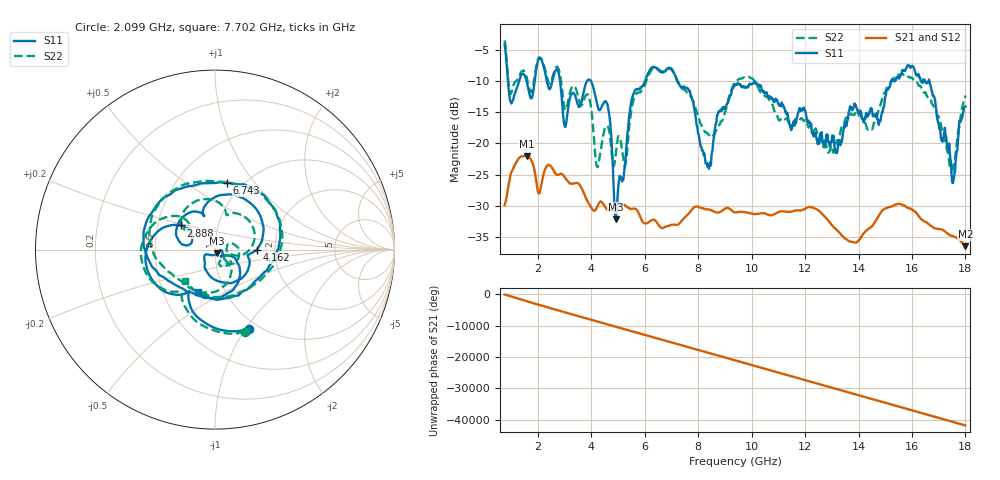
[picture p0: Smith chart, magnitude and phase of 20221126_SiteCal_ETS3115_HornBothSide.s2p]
!Keysight Technologies,N5224A,MY51441075,A.10.49.11
!Date: Saturday, November 26, 2022 12:56:04
!Correction: S11(Full 2 Port(1,2))
!S21(Full 2 Port(1,2))
!S12(Full 2 Port(1,2))
!S22(Full 2 Port(1,2))
!S2P File: Measurements: S11, S21, S12, S22:
# Hz S  dB  R 50
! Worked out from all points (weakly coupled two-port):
!   17251 points, 750 MHz to 18 GHz, reference 50 ohm
!   highest |S21| = -22.00 dB at 1.585 GHz (marker M1); lowest = -36.5 dB at 18 GHz (marker M2)
!   lowest |S11| = -32.2 dB at 4.905 GHz (marker M3), VSWR 1.05, Z = 51.1 - j2.22 ohm
!   |S11| at or under -10 dB: 3.985 GHz to 6.007 GHz (2.023 GHz wide, 40.5 % of centre); 7.222 GHz to 15.21 GHz (7.989 GHz wide, 71.2 % of centre); 16.65 GHz to end of sweep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
!   |S22| runs from -24.4 to -3.5 dB; largest |S21 - S12| = 0.00014
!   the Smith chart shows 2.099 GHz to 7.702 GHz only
!   S11 on the Smith chart (normalised r, x): 2.099 GHz: 0.90, -1.03; 2.888 GHz: 0.66, +0.19; 4.162 GHz: 1.61, -0.00; 6.743 GHz: 0.85, +0.74; 7.702 GHz: 0.75, -0.37
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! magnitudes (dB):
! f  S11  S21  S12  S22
! 750 MHz  -4.1  -29.9  -29.9  -3.5
! 997 MHz  -13.6  -24.7  -24.7  -11.9
! 1.585 GHz  -10.2  -22.0  -22.0  -9.5
! 2.099 GHz  -6.4  -27.2  -27.2  -6.3
! 2.888 GHz  -12.6  -24.9  -24.9  -10.8
! 3.625 GHz  -13.4  -27.1  -27.1  -13.8
! 4.162 GHz  -12.6  -30.6  -30.6  -22.7
! 4.627 GHz  -14.3  -30.8  -30.8  -17.4
! 4.905 GHz  -32.2  -30.5  -30.5  -21.9
! 5.275 GHz  -22.4  -30.0  -30.0  -23.4
! 5.564 GHz  -12.1  -30.5  -30.5  -13.2
! 6.5 GHz  -8.1  -33.0  -33.0  -8.1
! 6.743 GHz  -8.5  -33.4  -33.4  -8.3
! 7.702 GHz  -12.0  -31.0  -31.0  -12.4
! 8.396 GHz  -24.0  -30.6  -30.6  -18.6
! 9.375 GHz  -10.6  -31.1  -31.1  -10.2
! 12.25 GHz  -18.3  -30.3  -30.3  -17.2
! 13.86 GHz  -13.9  -35.9  -35.9  -15.3
! 15.12 GHz  -11.2  -30.2  -30.2  -10.5
! 16.64 GHz  -9.7  -33.0  -33.0  -12.8
! 17.54 GHz  -26.2  -34.9  -34.9  -23.5
! 18 GHz  -14.1  -36.5  -36.5  -12.3
